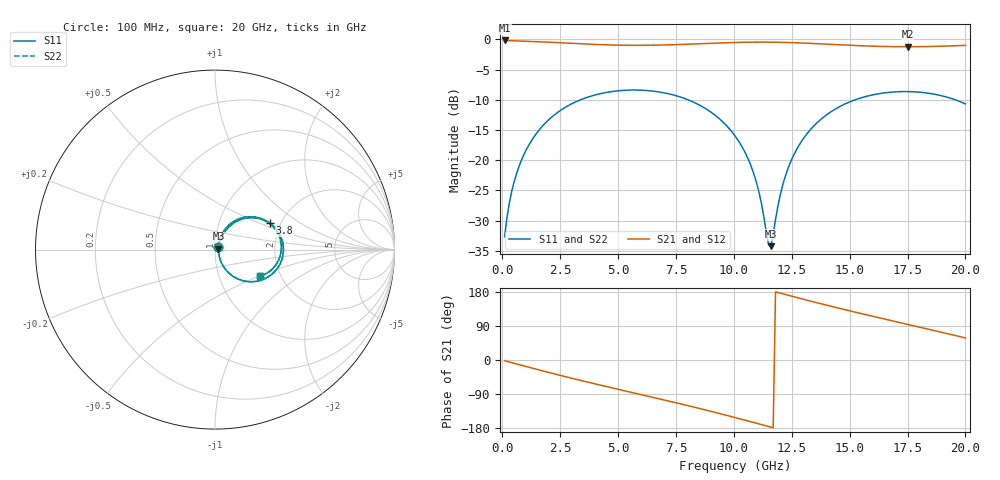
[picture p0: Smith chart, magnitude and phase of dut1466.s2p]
! Touchstone file exported from HFSS 2026.1.0
!  File:  C:/ffzhzh/LocalFiles/Ansys_Project_Files/temp_train_TSV_RDL_1466_1783360977_37376.aedt
!  Generated:  02:16:11 AM Jul  7, 2026
!  Design:  TSV_RDL
!  Project:  temp_train_TSV_RDL_1466_1783360977_37376
! Variables:
!  h_bsmrdl = 4.19um
!  h_ox = 20um
!  h_rdl = 5um
!  h_sub = 87.5um
!  h_tmrdl = 3.34um
!  h_tsv = 87.5um
!  h_via = 3um
!  l_bsmrdl = 543.5um
!  l_sub = 5104.17um
!  l_tmrdl = 729.5um
!  m_sub = 200um
!  pitch = 43.62um
!  r_tsv = 8.97um
!  s_tmrdl = 10um
!  w_bsmrdl = 24.95um
!  w_sub = 500um
!  w_tmrdl = 26.94um
!  x_tsv_center1 = 742.97um
!  x_tsv_center2 = 1311.42um
!  x_tsv_center3 = 2067.86um
!  x_tsv_center4 = 2636.31um
!  x_tsv_center5 = 3392.75um
!  x_tsv_center6 = 3961.2um
# GHz S MA R 50.000000
! Terminal data exported
! Port[1] = TM_RDL1_1_T1
! Port[2] = TM_RDL5_1_T1
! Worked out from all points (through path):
!   200 points, 100 MHz to 20 GHz, reference 50 ohm
!   highest |S21| = -0.17 dB at 100 MHz (marker M1); lowest = -1.2 dB at 17.5 GHz (marker M2)
!   group delay of S21, straight-line fit = 42 ps
!   lowest |S11| = -34.2 dB at 11.6 GHz (marker M3), VSWR 1.04, Z = 51.9 + j0.481 ohm
!   |S11| at or under -10 dB: start of sweep to 3.373 GHz; 8.026 GHz to 15.24 GHz (7.21 GHz wide, 62 % of centre); 19.57 GHz to end of sweep
!   |S22| runs from -34.3 to -8.4 dB; largest |S21 - S12| = 1.7e-14
!   S11 on the Smith chart (normalised r, x): 100 MHz: 1.04, +0.03; 3.8 GHz: 1.75, +0.58; 20 GHz: 1.57, -0.51
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0.1  0.02327 34.2  0.9811 -1.8  0.9811 -1.8  0.02327 34.2
! Gamma 0 0 0 0
! Port Impedance 50 0 50 0
0.3  0.04379 55.5  0.9779 -5.2  0.9779 -5.2  0.0438 55.5
0.5  0.0651 60.8  0.9751 -8.5  0.9751 -8.5  0.0651 60.8
1.1  0.1287 60.4  0.9667 -18.4  0.9667 -18.4  0.1287 60.4
2.1  0.2246 48.9  0.9477 -34.4  0.9477 -34.4  0.2246 48.9
3.5  0.3232 29.8  0.9182 -55.6  0.9182 -55.6  0.3232 29.8
3.8  0.3382 25.7  0.9127 -60.0  0.9127 -60.0  0.3382 25.7
5.3  0.3795 5.3  0.8955 -81.5  0.8955 -81.5  0.3795 5.3
6.8  0.3667 -14.9  0.8985 -102.7  0.8985 -102.7  0.3667 -14.9
8.7  0.2735 -40.9  0.9243 -130.7  0.9243 -130.7  0.2734 -40.9
10.1  0.1542 -59.1  0.9444 -152.6  0.9444 -152.6  0.1542 -59.2
10.9  0.07334 -63.8  0.9499 -165.6  0.9499 -165.6  0.0733 -63.9
11.2  0.04307 -57.4  0.9504 -170.5  0.9504 -170.5  0.043 -57.7
11.5  0.0199 -16.5  0.9498 -175.4  0.9498 -175.4  0.01974 -16.8
11.6  0.01943 13.8  0.9494 -177.0  0.9494 -177.0  0.01925 13.8
12  0.05119 62.3  0.9468 176.5  0.9468 176.5  0.0511 62.4
12.3  0.08148 65.8  0.9437 171.6  0.9437 171.6  0.08142 65.9
13.4  0.1876 56.5  0.9264 154.1  0.9264 154.1  0.1875 56.5
15  0.3038 35.4  0.895 129.8  0.895 129.8  0.3038 35.4
16.7  0.3647 12.8  0.8729 105.4  0.8729 105.4  0.3646 12.8
17.5  0.3703 2.4  0.8703 94.2  0.8703 94.2  0.3703 2.3
20  0.2926 -30.5  0.8934 58.2  0.8934 58.2  0.2925 -30.5
